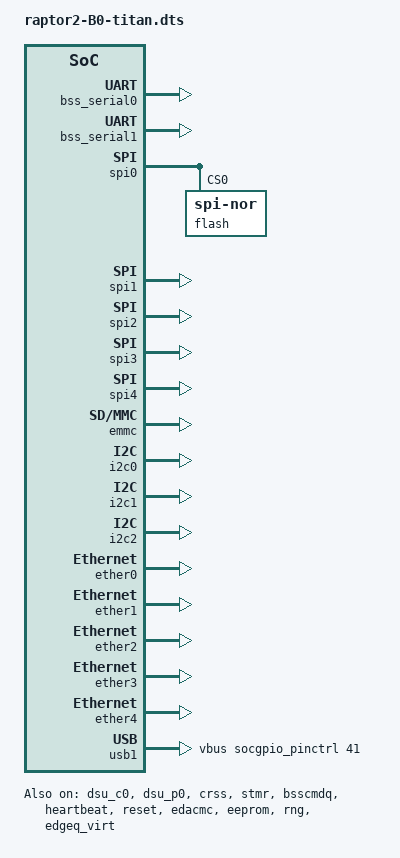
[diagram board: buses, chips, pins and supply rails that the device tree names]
// SPDX-License-Identifier: GPL-2.0
/*
 * EdgeQ Inc.
 *
 *
 * Raptor2 Platform
 */

/dts-v1/;
#define DDR_BASE_ADDR		0x800000000
#define DDR_BASE_ADDR_MSB	(DDR_BASE_ADDR >> 32)
#define DDR_GNB_BASE_ADDR_MSB	(DDR_BASE_ADDR_MSB + 1)

/* UIO Reservations*/
#define KB(x)	((x) * 1024)
#define MB(x)	(KB (KB (x)))
#define GB(x)	(MB (KB (x)))

#define XGMAC_OTHERS_RESERVED_SIZE	0x100000
#define BSS_RESERVED_SIZE		0xE70000
#define L1_RESERVED_OFF			MB(16)
#define L1_LOGBUFSU_OFF			(L1_RESERVED_OFF)
#define L1_LOGBUFSU_SIZE		(0x05641000)
#define L1_DDRAPP_MEM_OFF		(L1_LOGBUFSU_OFF + L1_LOGBUFSU_SIZE)
#define L1_DDRAPP_MEM_SIZE		(0x019BF000)
#define L1_DDRL1UIO_OFF			(L1_DDRAPP_MEM_OFF + L1_DDRAPP_MEM_SIZE)
#define L1_DDRL1UIO_SIZE		(MB(128))
#define L1_RESERVED_SIZE		(L1_LOGBUFSU_SIZE + L1_DDRAPP_MEM_SIZE + L1_DDRL1UIO_SIZE)

#include "raptor2-b0-cpuss.dtsi"
#include "raptor2-b0-ioss.dtsi"
#include "raptor2-b0-su-engines.dtsi"
#include "raptor2-b0-bss.dtsi"
#include "raptor2-b0-mtd.dtsi"

/ {
	compatible = "edgeq,b0-titan";
	chosen {
		bootargs = "root=/dev/ram0 rw earlycon=edgeq8250,mmio32,0x6E450040
			    console=ttyS0,115200 maxcpus=18 \
			    uio_pdrv_genirq.of_id=generic-uio";
		stdout-path = "serial0:115200n8";
	};

	aliases {
		serial0 = &bss_serial0;
		pci-dmall0 = &PCIE_DMA_LL;
		pci-glb0 = &GLOB_MEM;
	};

	memory {
		device_type = "memory";
		reg = <DDR_BASE_ADDR_MSB 0x00000000 0x2 0x00000000>; /*To be filled by bootloader*/
		numa-node-id = <0>;
	};

/*
 * First 16MB reserved for services as below
 * 1MB: XGMAC virt mem 96K, rest unassigned
 * 14784K: BSS RT SHM
 * 64K for STMR Memory
 * 256K PCI-E EP Glob Memory
 * 128K for EEPROM Memory
 * 64K for eMMC Memory
 */

	reserved-memory {
		#address-cells = <2>;
		#size-cells = <2>;
		ranges;

		XGMAC_OTHERS: xgmac_others-mem-off@00000000 {
			reg = <DDR_BASE_ADDR_MSB 0x00000000 0x0 XGMAC_OTHERS_RESERVED_SIZE>;
			no-map;
		};

		BSS_SHM: bss_shm-mem-off@00100000 {
			reg = <DDR_BASE_ADDR_MSB 0x00100000 0x0 BSS_RESERVED_SIZE>;
			no-map;
		};

		STMR: stmr-mem-off@00f70000 {
			reg = <DDR_BASE_ADDR_MSB 0x00F70000 0x0 0x10000>;
			no-map;
		};

		PCI_GLOB: pci_glob-mem-off@00f80000 {
			reg = <DDR_BASE_ADDR_MSB 0x00F80000 0x0 0x40000>;
			no-map;
		};

		EEPROM: eeprom-mem-off@00fd0000 {
			reg = <DDR_BASE_ADDR_MSB 0x00FD0000 0x0 0x20000>;
			no-map;
		};

		EMMC: emmc-mem-off@00ff0000 {
			reg = <DDR_BASE_ADDR_MSB 0x00FF0000 0x0 0x10000>;
			no-map;
		};

		L1RESERVED: l1reserved-mem-off@10000000 {
			reg = <DDR_BASE_ADDR_MSB L1_RESERVED_OFF 0x0 L1_RESERVED_SIZE>;
			no-map;
		};

		PCIE_DMA_LL: dma_ll-mem-off@40000000 { /* 128MB for B0 HDMA LL region */
			reg = <DDR_BASE_ADDR_MSB 0x40000000 0x0 0x8000000>;
		};

		DDRBEAM: ddrbeamform-mem-off@80000000 {
			reg = <DDR_BASE_ADDR_MSB 0x80000000 0x0 0x8000000>;
			no-map;
		};

		DDRULHARQ: ddrulharq-mem-off@88000000 {
			reg = <DDR_BASE_ADDR_MSB 0x88000000 0x0 0x18000000>;
			no-map;
		};

		DDRULDATA: ddruldata-mem-off@C8000000 {
			reg = <DDR_BASE_ADDR_MSB 0xc8000000 0x0 0x6400000>;
			no-map;
		};

		DDRDLDATA: ddrdldata-mem-off@CE400000 {
			reg = <DDR_BASE_ADDR_MSB 0xCE400000 0x0 0xC800000>;
			no-map;
		};

		DDRMXLMEM: ddrmxl-mem-off@DAC00000 {
			reg = <DDR_BASE_ADDR_MSB 0xDAC00000 0x0 0x500000>;
			no-map;
		};

		DDRCRSSQ: ddrcrssq-mem-off@DB100000 {
			reg = <DDR_BASE_ADDR_MSB 0xDB100000 0x0 0x100000>;
			no-map;
		};

		L1COREDUMP: l1coredump-mem-off@DB200000 {
			reg = <DDR_BASE_ADDR_MSB 0xDB200000 0x0 0x2000000>;
			no-map;
		};

		DDRGNBNGPCU: ddrgnbngp-mem-gnbcu-off@00000000 {
			reg = <DDR_GNB_BASE_ADDR_MSB 0x00000000 0x0 0x40000000>;
			no-map;
		};

		DDRGNBNGPDU: ddrgnbngp-mem-gnbdu-off@40000000 {
			reg = <DDR_GNB_BASE_ADDR_MSB 0x40000000 0x0 0x48000000>;
			no-map;
		};

		DDRNGPSHARED: ddrgnbngp-mem-gnbsh-off@88000000 {
			reg = <DDR_GNB_BASE_ADDR_MSB 0x88000000 0x0 0x19000000>;
			no-map;
		};

		LOGBUFFCU: LOGBUFFCU-off@A1000000 {
			reg = <DDR_GNB_BASE_ADDR_MSB 0xA1000000 0x0 0x800000>;
			no-map;
		};

		LOGBUFFDU: LOGBUFFDU-off@A1800000 {
			reg = <DDR_GNB_BASE_ADDR_MSB 0xA1800000 0x0 0x800000>;
			no-map;
		};

	};

	/*XGMAC_VIRT0/1/2_MEM REG description*/
	/*16KB Register Space in DDR */
	/*8KB RX queue location*/
	/*8KB TX queue location*/
	XGMAC_VIRT_MEM: xgmacvirt0mem@80001000 {
			reg = <DDR_BASE_ADDR_MSB 0x00001000 0x0 0x0018000>,
				<DDR_BASE_ADDR_MSB 0x00019000 0x0 0x0000C000>,
				<DDR_BASE_ADDR_MSB 0x00025000 0x0 0x0000C000>;
			no-map;
			};

	/* 128KB before emmc_memory reserved for EEPROM data*/
	eeprom_memory: buffer-ddr-off@FD0000 {
			reg = <DDR_BASE_ADDR_MSB 0x00FD0000 0x0 0x00020000>;
			no-map;
			};

	/* 64KB before 16MB offset reserved for dma */
	emmc_memory: buffer-ddr-off@FF0000 {
			reg = <DDR_BASE_ADDR_MSB 0x00FF0000 0x0 0x00010000>;
			no-map;
		     };

	LOGBUFSU: logbufsu-mem-off@0 {
		reg = <DDR_BASE_ADDR_MSB L1_LOGBUFSU_OFF 0x0 L1_LOGBUFSU_SIZE>;
		no-map;
	};

	DDRAPP_MEM: ddrappmem-off@0 {
		reg = <DDR_BASE_ADDR_MSB L1_DDRAPP_MEM_OFF 0x0 L1_DDRAPP_MEM_SIZE>;
		no-map;
	};

	DDRL1UIO: ddrl1uio-mem-off@0 {
		reg = <DDR_BASE_ADDR_MSB L1_DDRL1UIO_OFF 0x0 L1_DDRL1UIO_SIZE>;
		no-map;
	};

	/* From 15.5MB to +256KB for EP GLOB region */
	GLOB_MEM: glob-mem-off@F80000 {
			reg = <DDR_BASE_ADDR_MSB 0x00F80000 0x0 0x00040000>;
			no-map;
			};

	ADMAREG_MEM: admaregmem@60500000 {
			reg = <0x0 0x60500000 0x0 0x00004000>;
			no-map;
		     };

	OCM_MEM: ocmmem@180000000 {
			reg = <0x1 0x80000000 0x0 0x00030000>;
			no-map;
		     };

	OLMEM_MEM: olmem@14400000 {
			reg = <0x0 0x14400000 0x0 0x000C0000>;
			no-map;
		     };

	PLMEM_MEM: plmem@1c800000 {
			reg = <0x0 0x1c800000 0x0 0x00080000>;
			no-map;
		    };

	MXL1REG_MEM: mxl1reg@62400000 {
			reg = <0x0 0x62400000 0x0 0x00A00000>;
			no-map;
		    };

	MXL2REG_MEM: mxl2reg@63400000 {
			reg = <0x0 0x63400000 0x0 0x00A00000>;
			no-map;
		};

	CRSSREG_MEM: crssreg_mem@64400000 {
			reg = <0x0 0x64400000 0x0 0x00400000>;
			no-map;
		};

	CRSSREG0_MEM: crssreg0_mem@64400000 {
			reg = <0x0 0x64400000 0x0 0x00400000>;
			no-map;
		};
	CRSSREG1_MEM: crssreg1_mem@65400000 {
			reg = <0x0 0x65400000 0x0 0x00400000>;
			no-map;
		    };
	CRSSREG2_MEM: crssreg2_mem@66400000 {
			reg = <0x0 0x66400000 0x0 0x00400000>;
			no-map;
		    };
	CRSSREG3_MEM: crssreg3_mem@67400000 {
			reg = <0x0 0x67400000 0x0 0x00400000>;
			no-map;
		    };

	CRSSMEMSS_MEM: crssmemss@1c880000 {
			reg = <0x0 0x1c880000 0x0 0x00080000>;
			no-map;
		    };

	SPUDLM_MEM: spudlm@68080000 {
			reg = <0x0 0x68080000 0x0 0x00008000>;
			no-map;
		    };

	LMEM_RANGE: lmem@18000000 {
			reg = <0x0 0x18000000 0x0 0x17FFFFFF>;
			no-map;
		    };

	TXU15_LMEM_RANGE: txu15_lmem@18000000 {
			reg = <0x0 0x1BC00000 0x0 0x00100000>;
			no-map;
		};

	TXU_LMEM_0_3_RANGE: txu0-3-lmem@18000000 {
			reg = <0x0 0x18000000 0x0 0x00100000>,
				<0x0 0x19000000 0x0 0x00100000>,
				<0x0 0x1a000000 0x0 0x00100000>,
				<0x0 0x1b000000 0x0 0x00100000>;
			no-map;
		};

	TXU_LMEM_9_12_RANGE: txu9-12-lmem@1a000000 {
			reg = <0x0 0x1a000000 0x0 0x00100000>,
				<0x0 0x1a400000 0x0 0x00100000>,
				<0x0 0x1a800000 0x0 0x00100000>,
				<0x0 0x1ac00000 0x0 0x00100000>;
			no-map;
		};

	JESD_CONTROLLER: jesd-controller@3cb00000 {
			reg = <0x0 0x3cb00000 0x0 0x100000>;
			no-map;
		};

	JESD_SERDES: jesd-serdes@3c400000{
			reg = <0x0 0x3c400000 0x0 0x100000>;
			no-map;
		};

	JESD_SERDES_LINK4: jesd-serdes-link4@3c520000 {
			reg = <0x0 0x3c520000 0x0 0x20000>;
			no-map;
		};

	edgeq_uio0: edgeq_uio {
			compatible = "edgeq,raptor2-uio-all";
			memory-region = <&ADMAREG_MEM 0x02 0>,
				<&OCM_MEM 0x01 0>,
				<&OLMEM_MEM 0x02 0>,
				<&PLMEM_MEM 0x02 0>,
				<&MXL1REG_MEM 0x02 0>,
				<&MXL2REG_MEM 0x02 0>,
				<&CRSSREG_MEM 0x02 0>,
				<&CRSSMEMSS_MEM 0x02 0>,
				<&SPUDLM_MEM 0x02 0>,
				<&DDRAPP_MEM 0x03 0>,
				<&DDRBEAM 0x03 0>,
				<&DDRULHARQ 0x03 0>,
				<&DDRULDATA 0x01 0>,
				<&DDRDLDATA 0x01 0>,
				<&DDRMXLMEM 0x01 0>,
				<&DDRCRSSQ 0x01 0>,
				<&L1COREDUMP 0x01 0>,
				<&DDRGNBNGPCU 0x01 0>,
				<&DDRGNBNGPDU 0x01 0>,
				<&DDRNGPSHARED 0x01 1>,
				<&LOGBUFFCU 0x01 0>,
				<&LOGBUFFDU 0x01 0>,
				<&LOGBUFSU 0x01 0>,
				<&LMEM_RANGE 0X02 0>,
				<&TXU15_LMEM_RANGE 0X02 0>,
				<&eeprom_memory 0x03 0>,
				<&TXU_LMEM_9_12_RANGE 0x02 0>,
				<&JESD_CONTROLLER 0x02 0>,
				<&TXU_LMEM_0_3_RANGE 0x02 0>,
				<&DDRL1UIO 0x03 0>,
				<&JESD_SERDES 0x02 0>,
				<&JESD_SERDES_LINK4 0x02 0>,
				<&CRSSREG0_MEM 0x02 0>,
				<&CRSSREG1_MEM 0x02 0>,
				<&CRSSREG2_MEM 0x02 0>,
				<&CRSSREG3_MEM 0x02 0>;
			mem-region-name = "ADMAREG", "OCM", "OLMEM", "PLMEM", "MXL1REG",
				"MXL2REG","CRSSREG", "CRSSMEMSS", "SPUDLM", "DDRAPPMEM",
				"DDRBEAMFORM", "DDRULHARQ", "DDRULDATA", "DDRDLDATA", "DDRMXLMEM",
				"DDRCRSSQ", "L1COREDUMP", "DDRGNBNGPCU", "DDRGNBNGPDU",
				"DDRNGPSHARED", "LOGBUFFCU", "LOGBUFFDU", "LOGBUFSU", "LMEM_RANGE",
				"TXU15_LMEM_RANGE", "EEPROM_MEMORY_BUFFER", "TXU-9-12_LMEM",
				"JESD_CONTROLLER", "TXU-0-3_LMEM", "DDRL1UIO","JESD_SERDES",
				"JESD_SERDES_LINK4", "CRSSREG0", "CRSSREG1", "CRSSREG2", "CRSSREG3";
			interrupts = <GIC_SPI 18 IRQ_TYPE_LEVEL_HIGH>;
			status = "ok";
	};

	edgeq_virt: edgeq_virt_uio@0x3C980000 {
		compatible = "edgeq,virt";
		reg = <0x0 0x3C980000 0x0 0x80000>;
		reg-names = "pcie_dma";

		memory-region = < &PCIE_DMA_LL >,
				< &XGMAC_VIRT_MEM >;

		mem-region-name = "PCIE_DMA_WA", "XGMAC_VIRT";

		virt_reg_size = < 0x4000 >;
		virt_rx_size = < 0x2000 >;
		virt_tx_size = < 0x2000 >;
		vdevs = < 6 >;
		dma-channels = < 16 >;
		use_netlink;
		status = "ok";
	};

	eq_syscon0: eq_syscon {
		compatible = "edgeq,syscon";
		eq_sif_syscon = <&sif_syscon>;
		eq_gpio_syscon = <&gpio_syscon>;
		sif_conf = <0x3EC 0x00005A5A>,	/* XGMAC 1PPS -> GPIO39 */
						/* GPS reset -> GPIO38 */
			   <0x2F0 0x00003000>;	/* same as above, set GPIO39/38's msb */
		gpio_conf = <0x6C 0x1E0C1E50>;	/* GPIO 39 and 38 as output mode */
	};
};

&armv8_arch_timer {
	clock-frequency = <61440000>;
};

&dsu_c0 {
	status = "ok";

	cpus =  <&E1_C0_0>, <&E1_C0_1>, <&E1_C1_0>, <&E1_C1_1>, <&E1_C2_0>,
		<&E1_C2_1>, <&E1_C3_0>, <&E1_C3_1>, <&E1_C4_0>, <&E1_C4_1>;

};

&dsu_p0 {
	status = "ok";
	cpus =  <&E1_P0_0>, <&E1_P0_1>, <&E1_P1_0>, <&E1_P1_1>,
		<&E1_P2_0>, <&E1_P2_1>, <&E1_P3_0>, <&E1_P3_1>;
};

&cmn_pmu {
	status = "ok";
};

&armv8_pmuv3{
	status = "ok";
};

&bss_serial0 {
	status = "ok";
	clock-frequency = <750000000>;
};

&bss_serial1 {
	status = "ok";
	clock-frequency = <750000000>;
	gnss {
		status = "okay";
		current-speed = <38400>;
	};
};

&spi0 {
	spi-max-frequency = <80000000>;
	status = "ok";

	flash@0 {
		compatible = "jedec,spi-nor";
		reg = <0>;

		#address-cells = <1>;
		#size-cells = <1>;

		mbr@0 {
			reg = <0x0 0x00080000>; /* 512KB charley comment: for MBR location */
		};

		firmware_fs@80000 {
			reg = <0x00080000 0x00400000>; /* 4MB for firmware failedsafe */
		};

		uRamdisk@480000 {
			reg = <0x00480000 0x00580000>; /* 5.5M for uRamDisk */
		};

		linux@A00000 {
			reg = <0x00A00000 0x004C0000>; /* 4.75MB for linux kernel */
		};

		dts@EC0000 {
			reg = <0x00EC0000 0x00040000>; /* 0.25M for DTS */
		};

		resvd_fs@F00000 {
			reg = <0x00F00000 0x00100000>; /* 1 MB reserved for failedsafe */
		};

		firmware_a@1000000 {
			reg = <0x01000000 0x00400000>; /* 4MB for firmware A */
		};

		resved_a@1400000 {
			reg = <0x01400000 0x00400000>; /* 4MB for reserved A */
		};

		firmware_b@1800000 {
			reg = <0x01800000 0x00400000>; /* 4MB for firmware B */
		};

		resved_b@1C00000 {
			reg = <0x01C00000 0x00400000>; /* 4MB for reserved B */
		};

	};
};

&spi1 {
	status = "ok";
};

&spi2 {
	status = "ok";
};

&spi3 {
	/delete-property/ spi-cpol;
	/delete-property/ spi-cpha;
	/delete-property/ read_cs_toggle_quirk;
	status = "ok";
};

&spi4 {
	/delete-property/ spi-cpol;
	/delete-property/ spi-cpha;
	/delete-property/ read_cs_toggle_quirk;
	status = "ok";
};

&emmc {
	status = "ok";
	/delete-property/ mmc_coherent;
	memory-region = <&emmc_memory>;
};

&i2c0 {
	status = "ok";
};

&i2c1 {
	status = "ok";
};

&i2c2 {
	status = "ok";
};

&ether0 {
	edgeq,pmd-num-chans = <3>;
	edgeq,pmd-start-chan = <0>;
	edgeq,virt-chan-uio-id = <1>;
	status = "ok";
};

&ether1 {
	edgeq,pmd-num-chans = <3>;
	edgeq,pmd-start-chan = <0>;
	edgeq,virt-chan-uio-id = <2>;
	status = "ok";
};

&ether2 {
	edgeq,pmd-num-chans = <3>;
	edgeq,pmd-start-chan = <0>;
	edgeq,virt-chan-uio-id = <3>;
	status = "ok";
};

&ether3 {
	edgeq,pmd-num-chans = <3>;
	edgeq,pmd-start-chan = <0>;
	edgeq,virt-chan-uio-id = <4>;
	status = "ok";
};

&ether4 {
	edgeq,pmd-num-chans = <3>;
	edgeq,pmd-start-chan = <0>;
	edgeq,virt-chan-uio-id = <5>;
	status = "ok";
};

&crss {
	status = "ok";
};

&stmr {
	status = "ok";
};

&bsscmdq {
	status = "ok";
};

&heartbeat {
	status = "ok";
};

&reset {
	status = "ok";
};

&edacmc {
	status = "ok";
};

&rfgpio {
	status = "ok";
};

/*
 *      uart = 0,1,7,8
 *      pcie_perst = 50
 *      i2c2 = 42,43
 *      i2c3 = 44,45
 *      MV PHY reset = 2
 */
&socgpio {
	status = "disabled";
	gpio-reserved-ranges = <0 3>, <7 2>, <42 4>, <50 1>;
};

&socgpio_pinctrl {
	status = "ok";
	gpio-reserved-ranges = <0 3>, <7 2>, <42 4>, <50 1>;
};

&eeprom {
	status = "ok";
	memory-region = <&eeprom_memory>;
};

&usb1 {
	status = "ok";
	pinctrl-names = "vbus";
	pinctrl-0 = <&state_vbus_41>;
	vbus-gpios = <&socgpio_pinctrl 41 GPIO_ACTIVE_HIGH>;
};

&rng {
	status = "ok";
};
